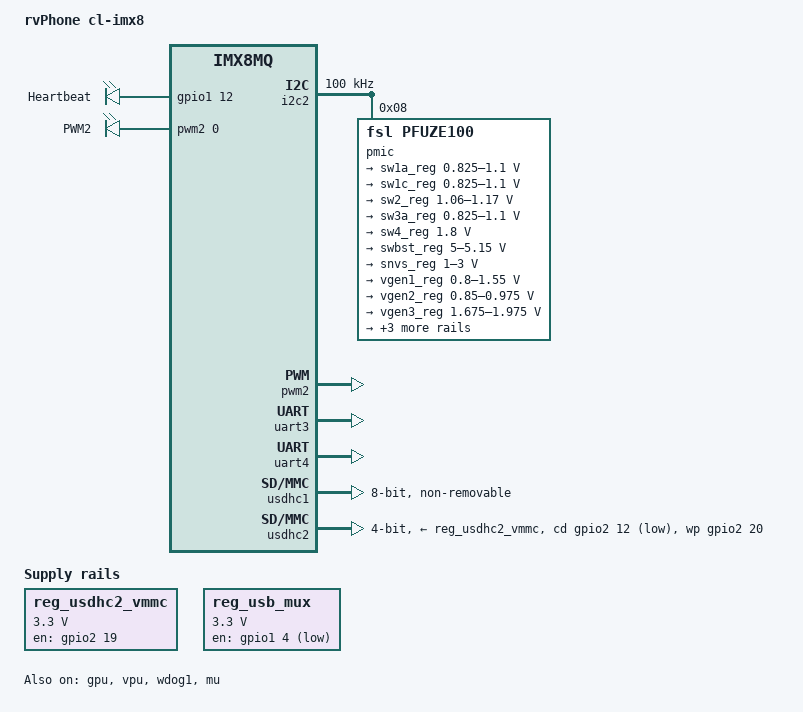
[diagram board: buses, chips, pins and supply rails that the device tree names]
/*
 * Copyright (C) 2017 CopuLab Ltd.
 *
 * This program is free software; you can redistribute it and/or
 * modify it under the terms of the GNU General Public License
 * as published by the Free Software Foundation; either version 2
 * of the License, or (at your option) any later version.
 *
 * This program is distributed in the hope that it will be useful,
 * but WITHOUT ANY WARRANTY; without even the implied warranty of
 * MERCHANTABILITY or FITNESS FOR A PARTICULAR PURPOSE.  See the
 * GNU General Public License for more details.
 */

/dts-v1/;

/* First 128KB is for PSCI ATF. */
/memreserve/ 0x40000000 0x00020000;

#include "fsl-imx8mq.dtsi"

/ {
	model = "rvPhone cl-imx8";
	compatible = "rvphone,cl-imx8", "fsl,imx8mq";

	chosen {
		bootargs = "console=ttymxc2,115200 earlycon=ec_imx6q,0x30880000,115200";
		stdout-path = &uart3;
	};

	regulators {
		compatible = "simple-bus";
		#address-cells = <1>;
		#size-cells = <0>;

		reg_usdhc2_vmmc: regulator-vsd-3v3 {
			compatible = "regulator-fixed";
			pinctrl-names = "default";
			pinctrl-0 = <&pinctrl_usdhc2_reg>;
			regulator-name = "VSD_3V3";
			regulator-min-microvolt = <3300000>;
			regulator-max-microvolt = <3300000>;
			gpio = <&gpio2 19 GPIO_ACTIVE_HIGH>;
			off-on-delay-us = <20000>;
			enable-active-high;
		};

		reg_usb_mux: regulator-usb-mux {
			compatible = "regulator-fixed";
			pinctrl-names = "default";
			pinctrl-0 = <&pinctrl_usbimux1>;
			regulator-name = "usb_mux";
			regulator-min-microvolt = <3300000>;
			regulator-max-microvolt = <3300000>;
			gpio = <&gpio1 4 GPIO_ACTIVE_HIGH>;
			regulator-always-on;
			enable-active-low;
		};
	};

	leds {
		compatible = "gpio-leds";
		heartbeat-led {
			label = "Heartbeat";
			gpios = <&gpio1 12 0>;
			linux,default-trigger = "heartbeat";
		};
	};

	pwmleds {
		compatible = "pwm-leds";

		ledpwm2 {
			label = "PWM2";
			pwms = <&pwm2 0 50000>;
			max-brightness = <255>;
		};
	};
};

&iomuxc {
	pinctrl-names = "default";
	pinctrl-0 = <&pinctrl_hog>;

	cl-som-imx8 {
		pinctrl_hog: hoggrp {
			fsl,pins = <
				MX8MQ_IOMUXC_GPIO1_IO12_GPIO1_IO12		0x16
			>;
		};

		pinctrl_usdhc2_reg: usdhc2reggrp {
			fsl,pins = <
				MX8MQ_IOMUXC_SD2_RESET_B_GPIO2_IO19		0x41
			>;
		};

		pinctrl_usbimux1: usbmux1grp {
			fsl,pins = <
				MX8MQ_IOMUXC_GPIO1_IO04_GPIO1_IO4		0x16
			>;
		};

		pinctrl_i2c2: i2c2grp {
			fsl,pins = <
				MX8MQ_IOMUXC_I2C2_SCL_I2C2_SCL			0x4000007f
				MX8MQ_IOMUXC_I2C2_SDA_I2C2_SDA			0x4000007f
			>;
		};


		pinctrl_pwm2: pwm2grp {
			fsl,pins = <
				MX8MQ_IOMUXC_GPIO1_IO13_PWM2_OUT		0x16
			>;
		};

		pinctrl_uart3: uart3grp {
			fsl,pins = <
				MX8MQ_IOMUXC_UART3_TXD_UART3_DCE_TX		0x79
				MX8MQ_IOMUXC_UART3_RXD_UART3_DCE_RX		0x79
				MX8MQ_IOMUXC_ECSPI1_MISO_UART3_DCE_CTS_B	0x79
				MX8MQ_IOMUXC_ECSPI1_SS0_UART3_DCE_RTS_B		0x79
				MX8MQ_IOMUXC_NAND_CLE_GPIO3_IO5			0x19
			>;
		};

		pinctrl_uart4: uart4grp {
			fsl,pins = <
				MX8MQ_IOMUXC_ECSPI2_MOSI_UART4_DCE_TX		0x79
				MX8MQ_IOMUXC_ECSPI2_SCLK_UART4_DCE_RX		0x79
				MX8MQ_IOMUXC_ECSPI2_MISO_UART4_DCE_CTS_B	0x79
				MX8MQ_IOMUXC_ECSPI2_SS0_UART4_DCE_RTS_B		0x79
				MX8MQ_IOMUXC_GPIO1_IO04_GPIO1_IO4		0x19
				MX8MQ_IOMUXC_GPIO1_IO05_GPIO1_IO5		0x19
			>;
		};

		pinctrl_usdhc1: usdhc1grp {
			fsl,pins = <
				MX8MQ_IOMUXC_SD1_CLK_USDHC1_CLK			0x83
				MX8MQ_IOMUXC_SD1_CMD_USDHC1_CMD			0xc3
				MX8MQ_IOMUXC_SD1_DATA0_USDHC1_DATA0		0xc3
				MX8MQ_IOMUXC_SD1_DATA1_USDHC1_DATA1		0xc3
				MX8MQ_IOMUXC_SD1_DATA2_USDHC1_DATA2		0xc3
				MX8MQ_IOMUXC_SD1_DATA3_USDHC1_DATA3		0xc3
				MX8MQ_IOMUXC_SD1_DATA4_USDHC1_DATA4		0xc3
				MX8MQ_IOMUXC_SD1_DATA5_USDHC1_DATA5		0xc3
				MX8MQ_IOMUXC_SD1_DATA6_USDHC1_DATA6		0xc3
				MX8MQ_IOMUXC_SD1_DATA7_USDHC1_DATA7		0xc3
				MX8MQ_IOMUXC_SD1_STROBE_USDHC1_STROBE 		0x83
				MX8MQ_IOMUXC_SD1_RESET_B_USDHC1_RESET_B		0xc1
			>;
		};

		pinctrl_usdhc1_100mhz: usdhc1grp100mhz {
			fsl,pins = <
				MX8MQ_IOMUXC_SD1_CLK_USDHC1_CLK			0x85
				MX8MQ_IOMUXC_SD1_CMD_USDHC1_CMD			0xc5
				MX8MQ_IOMUXC_SD1_DATA0_USDHC1_DATA0		0xc5
				MX8MQ_IOMUXC_SD1_DATA1_USDHC1_DATA1		0xc5
				MX8MQ_IOMUXC_SD1_DATA2_USDHC1_DATA2		0xc5
				MX8MQ_IOMUXC_SD1_DATA3_USDHC1_DATA3		0xc5
				MX8MQ_IOMUXC_SD1_DATA4_USDHC1_DATA4		0xc5
				MX8MQ_IOMUXC_SD1_DATA5_USDHC1_DATA5		0xc5
				MX8MQ_IOMUXC_SD1_DATA6_USDHC1_DATA6		0xc5
				MX8MQ_IOMUXC_SD1_DATA7_USDHC1_DATA7		0xc5
				MX8MQ_IOMUXC_SD1_STROBE_USDHC1_STROBE 		0x85
				MX8MQ_IOMUXC_SD1_RESET_B_USDHC1_RESET_B		0xc1
			>;
		};

		pinctrl_usdhc1_200mhz: usdhc1grp200mhz {
			fsl,pins = <
				MX8MQ_IOMUXC_SD1_CLK_USDHC1_CLK			0x87
				MX8MQ_IOMUXC_SD1_CMD_USDHC1_CMD			0xc7
				MX8MQ_IOMUXC_SD1_DATA0_USDHC1_DATA0		0xc7
				MX8MQ_IOMUXC_SD1_DATA1_USDHC1_DATA1		0xc7
				MX8MQ_IOMUXC_SD1_DATA2_USDHC1_DATA2		0xc7
				MX8MQ_IOMUXC_SD1_DATA3_USDHC1_DATA3		0xc7
				MX8MQ_IOMUXC_SD1_DATA4_USDHC1_DATA4		0xc7
				MX8MQ_IOMUXC_SD1_DATA5_USDHC1_DATA5		0xc7
				MX8MQ_IOMUXC_SD1_DATA6_USDHC1_DATA6		0xc7
				MX8MQ_IOMUXC_SD1_DATA7_USDHC1_DATA7		0xc7
				MX8MQ_IOMUXC_SD1_STROBE_USDHC1_STROBE 		0x87
				MX8MQ_IOMUXC_SD1_RESET_B_USDHC1_RESET_B		0xc1
			>;
		};

		pinctrl_usdhc2_gpio: usdhc2grpgpio {
			fsl,pins = <
				MX8MQ_IOMUXC_SD2_CD_B_GPIO2_IO12		0x41
				MX8MQ_IOMUXC_SD2_WP_GPIO2_IO20			0x41
			>;
		};

		pinctrl_usdhc2: usdhc2grp {
			fsl,pins = <
				MX8MQ_IOMUXC_SD2_CLK_USDHC2_CLK			0x83
				MX8MQ_IOMUXC_SD2_CMD_USDHC2_CMD			0xc3
				MX8MQ_IOMUXC_SD2_DATA0_USDHC2_DATA0		0xc3
				MX8MQ_IOMUXC_SD2_DATA1_USDHC2_DATA1		0xc3
				MX8MQ_IOMUXC_SD2_DATA2_USDHC2_DATA2		0xc3
				MX8MQ_IOMUXC_SD2_DATA3_USDHC2_DATA3		0xc3
			>;
		};

		pinctrl_usdhc2_100mhz: usdhc2grp100mhz {
			fsl,pins = <
				MX8MQ_IOMUXC_SD2_CLK_USDHC2_CLK			0x85
				MX8MQ_IOMUXC_SD2_CMD_USDHC2_CMD			0xc5
				MX8MQ_IOMUXC_SD2_DATA0_USDHC2_DATA0		0xc5
				MX8MQ_IOMUXC_SD2_DATA1_USDHC2_DATA1		0xc5
				MX8MQ_IOMUXC_SD2_DATA2_USDHC2_DATA2		0xc5
				MX8MQ_IOMUXC_SD2_DATA3_USDHC2_DATA3		0xc5
			>;
		};

		pinctrl_usdhc2_200mhz: usdhc2grp200mhz {
			fsl,pins = <
				MX8MQ_IOMUXC_SD2_CLK_USDHC2_CLK			0x87
				MX8MQ_IOMUXC_SD2_CMD_USDHC2_CMD			0xc7
				MX8MQ_IOMUXC_SD2_DATA0_USDHC2_DATA0		0xc7
				MX8MQ_IOMUXC_SD2_DATA1_USDHC2_DATA1		0xc7
				MX8MQ_IOMUXC_SD2_DATA2_USDHC2_DATA2		0xc7
				MX8MQ_IOMUXC_SD2_DATA3_USDHC2_DATA3		0xc7
			>;
		};

		pinctrl_wdog: wdoggrp {
			fsl,pins = <
				MX8MQ_IOMUXC_GPIO1_IO02_WDOG1_WDOG_B 0xc6
			>;
		};
	};
};

&i2c2 {
	clock-frequency = <100000>;
	pinctrl-names = "default";
	pinctrl-0 = <&pinctrl_i2c2>;
	status = "okay";

	pmic@8 {
		compatible = "fsl,pfuze100";
		fsl,pfuze-support-disable-sw;
		reg = <0x8>;

		regulators {
			sw1a_reg: sw1ab {
				regulator-min-microvolt = <825000>;
				regulator-max-microvolt = <1100000>;
				regulator-always-on;
			};

			sw1c_reg: sw1c {
				regulator-min-microvolt = <825000>;
				regulator-max-microvolt = <1100000>;
				regulator-always-on;
			};

			sw2_reg: sw2 {
				regulator-min-microvolt = <1060000>;
				regulator-max-microvolt = <1170000>;
				regulator-always-on;
			};

			sw3a_reg: sw3ab {
				regulator-min-microvolt = <825000>;
				regulator-max-microvolt = <1100000>;
				regulator-always-on;
			};

			sw4_reg: sw4 {
				regulator-min-microvolt = <1800000>;
				regulator-max-microvolt = <1800000>;
				regulator-always-on;
			};

			swbst_reg: swbst {
				regulator-min-microvolt = <5000000>;
				regulator-max-microvolt = <5150000>;
			};

			snvs_reg: vsnvs {
				regulator-min-microvolt = <1000000>;
				regulator-max-microvolt = <3000000>;
				regulator-always-on;
			};

			vref_reg: vrefddr {
				regulator-always-on;
			};

			vgen1_reg: vgen1 {
				regulator-min-microvolt = <800000>;
				regulator-max-microvolt = <1550000>;
			};

			vgen2_reg: vgen2 {
				regulator-min-microvolt = <850000>;
				regulator-max-microvolt = <975000>;
				regulator-always-on;
			};

			vgen3_reg: vgen3 {
				regulator-min-microvolt = <1675000>;
				regulator-max-microvolt = <1975000>;
				regulator-always-on;
			};

			vgen4_reg: vgen4 {
				regulator-min-microvolt = <1625000>;
				regulator-max-microvolt = <1875000>;
				regulator-always-on;
			};

			vgen5_reg: vgen5 {
				regulator-min-microvolt = <3075000>;
				regulator-max-microvolt = <3625000>;
				regulator-always-on;
			};

			vgen6_reg: vgen6 {
				regulator-min-microvolt = <1800000>;
				regulator-max-microvolt = <3300000>;
			};
		};
	};
};

&pwm2 {
	pinctrl-names = "default";
	pinctrl-0 = <&pinctrl_pwm2>;
	status = "okay";
};

&uart3 { /* console */
	pinctrl-names = "default";
	pinctrl-0 = <&pinctrl_uart3>;
	assigned-clocks = <&clk IMX8MQ_CLK_UART3_SRC>;
	assigned-clock-parents = <&clk IMX8MQ_CLK_25M>;
	status = "okay";
};

&uart4 { /* BT */
	pinctrl-names = "default";
	pinctrl-0 = <&pinctrl_uart4>;
	assigned-clocks = <&clk IMX8MQ_CLK_UART4_SRC>;
	assigned-clock-parents = <&clk IMX8MQ_SYS1_PLL_80M>;
	fsl,uart-has-rtscts;
	status = "okay";
};

&usdhc1 {
	pinctrl-names = "default", "state_100mhz", "state_200mhz";
	pinctrl-0 = <&pinctrl_usdhc1>;
	pinctrl-1 = <&pinctrl_usdhc1_100mhz>;
	pinctrl-2 = <&pinctrl_usdhc1_200mhz>;
	bus-width = <8>;
	non-removable;
	status = "okay";
};

&usdhc2 {
	pinctrl-names = "default", "state_100mhz", "state_200mhz";
	pinctrl-0 = <&pinctrl_usdhc2>, <&pinctrl_usdhc2_gpio>;
	pinctrl-1 = <&pinctrl_usdhc2_100mhz>, <&pinctrl_usdhc2_gpio>;
	pinctrl-2 = <&pinctrl_usdhc2_200mhz>, <&pinctrl_usdhc2_gpio>;
	bus-width = <4>;
	cd-gpios = <&gpio2 12 GPIO_ACTIVE_LOW>;
	wp-gpios = <&gpio2 20 GPIO_ACTIVE_HIGH>;
	vmmc-supply = <&reg_usdhc2_vmmc>;
	no-1-8-v;
	status = "okay";
};

&gpu {
	status = "okay";
};

&vpu {
	status = "okay";
};

&wdog1 {
	pinctrl-names = "default";
	pinctrl-0 = <&pinctrl_wdog>;
	fsl,ext-reset-output;
	status = "okay";
};

&mu {
	status = "okay";
};

&cpu_alert0 {
	temperature = <125000>;
};

&cpu_crit0 {
	temperature = <165000>;
};
